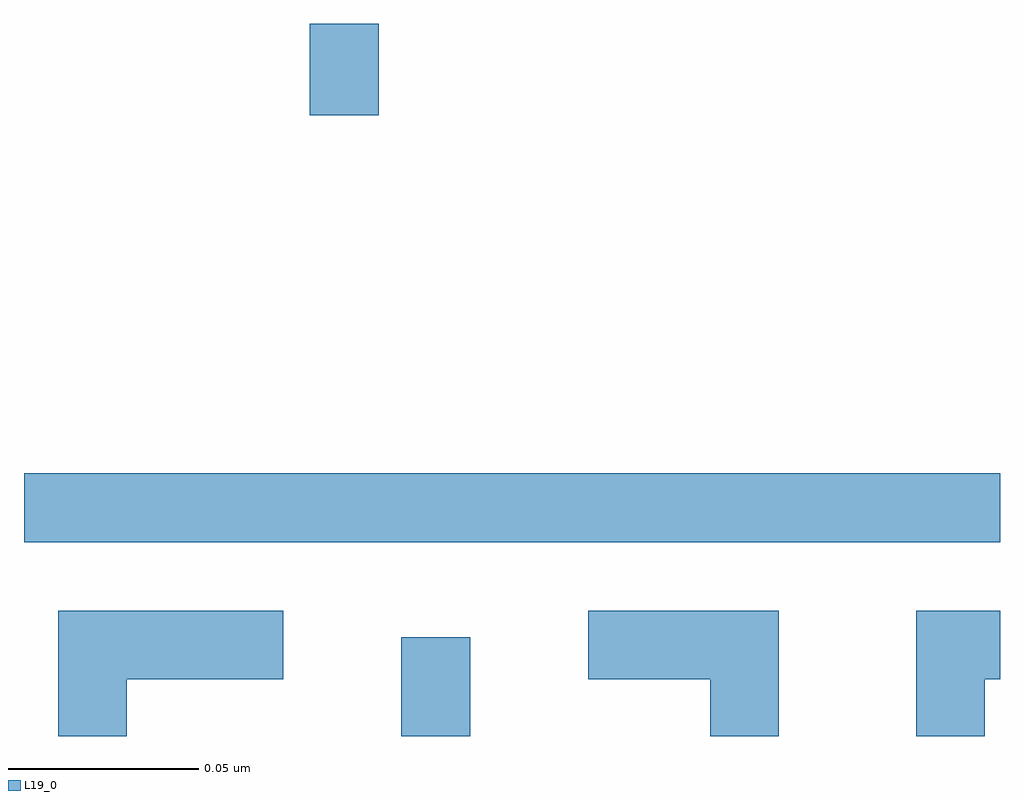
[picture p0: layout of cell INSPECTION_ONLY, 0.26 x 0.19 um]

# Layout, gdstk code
import gdstk
lib = gdstk.Library(unit=1e-6, precision=2.5e-10)
def R(c, l, rs):  # rectangles x0, y0, x1, y1
    for r in rs: c.add(gdstk.rectangle(r[:2], r[2:], *l))
def P(c, l, *ps):  # polygons
    for p in ps: c.add(gdstk.Polygon(p, *l))
L19_0 = (19, 0)

inspection_only = lib.new_cell('INSPECTION_ONLY')
R(inspection_only, L19_0, [(8.099,0.21,8.117,0.236), (8,0.261,8.256,0.279), (8.075,0.373,8.093,0.397)])
P(inspection_only, L19_0, [(8.009,0.21),(8.009,0.243),(8.068,0.243),(8.068,0.225),(8.027,0.225),(8.027,0.21)],
  [(8.18,0.21),(8.18,0.225),(8.148,0.225),(8.148,0.243),(8.198,0.243),(8.198,0.21)],
  [(8.234,0.21),(8.234,0.243),(8.256,0.243),(8.256,0.225),(8.252,0.225),(8.252,0.21)])

lib.write_gds('INSPECTION_ONLY.gds')
